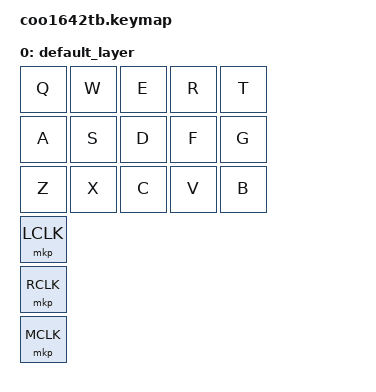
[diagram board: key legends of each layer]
/ {
    keymap {
        compatible = "zmk,keymap";

        default_layer {
            bindings = <
                &kp Q   &kp W   &kp E   &kp R   &kp T
                &kp A   &kp S   &kp D   &kp F   &kp G
                &kp Z   &kp X   &kp C   &kp V   &kp B

                &mkp LCLK
                &mkp RCLK
                &mkp MCLK
            >;
        };
    };
};
